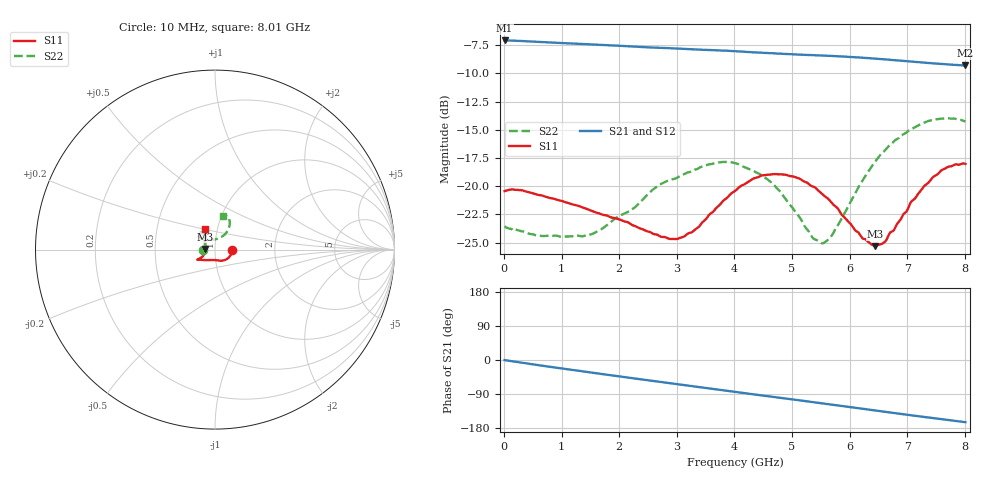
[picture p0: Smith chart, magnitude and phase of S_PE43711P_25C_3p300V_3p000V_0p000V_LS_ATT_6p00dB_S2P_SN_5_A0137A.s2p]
! Device ID: PE43711P
! File Path: z:\PE43711P\CHAR_NOM_04282014\AMB\3p300\LS_ATT_6p00dB\PE43711P_AMB_3p300V_3p000V_0p000V_LS_ATT_6p00dB_S2P_SN_5_A0137A.s2p
! Serial: 5
! Lot: A0137A
! Temp: 25C
! VDD: 3.300
! VSS: 0.000
! Control_Hi: 3.000
! Control_Lo: 0.000
! Attenuation Step: 6.00dB
! Port 1: RF1
! Port 2: RF2
! ThroughPath:1-2
! IDD: 0.0001279107
! ISS: -5.98e-008
#  Hz  S  RI  R  50
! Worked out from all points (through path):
!   801 points, 10 MHz to 8.01 GHz, reference 50 ohm
!   highest |S21| = -7.07 dB at 10 MHz (marker M1); lowest = -9.3 dB at 8.01 GHz (marker M2)
!   group delay of S21, straight-line fit = 56.5 ps
!   lowest |S11| = -25.3 dB at 6.44 GHz (marker M3), VSWR 1.11, Z = 44.9 + j0.277 ohm
!   |S11| at or under -10 dB: start of sweep to end of sweep
!   |S22| runs from -25.1 to -14.0 dB; largest |S21 - S12| = 0.00083
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1e7  0.0951 -0.000397  0.443 -0.00221  0.4432 -0.0024  -0.0663 0.000525
5.9e8  0.0846 -0.0347  0.4245 -0.1021  0.4249 -0.1022  -0.0603 0.00355
1.35e9  0.0565 -0.0576  0.3714 -0.2118  0.3718 -0.2119  -0.0569 0.0187
2.2e9  0.0281 -0.0617  0.2821 -0.307  0.2825 -0.3071  -0.0541 0.0564
2.68e9  0.0112 -0.0595  0.2234 -0.3451  0.2236 -0.3453  -0.0588 0.0819
2.98e9  -0.00476 -0.0581  0.1842 -0.3642  0.1843 -0.3645  -0.0649 0.0866
3.27e9  -0.023 -0.0582  0.1444 -0.378  0.1446 -0.3783  -0.0722 0.092
3.68e9  -0.054 -0.0588  0.0876 -0.3908  0.0875 -0.391  -0.0873 0.0918
4.01e9  -0.0763 -0.057  0.0408 -0.3947  0.0405 -0.395  -0.096 0.0824
4.34e9  -0.0927 -0.0561  -0.0051 -0.3924  -0.00519 -0.3927  -0.0915 0.0722
4.68e9  -0.0982 -0.0562  -0.0511 -0.3848  -0.0512 -0.3849  -0.0795 0.0633
5.04e9  -0.0953 -0.0549  -0.0972 -0.3718  -0.0975 -0.3718  -0.0544 0.056
5.35e9  -0.0869 -0.0493  -0.1359 -0.3562  -0.136 -0.3567  -0.0262 0.0534
5.53e9  -0.0799 -0.0459  -0.1576 -0.3454  -0.1576 -0.3455  -0.00739 0.0553
5.67e9  -0.0743 -0.0424  -0.1741 -0.3359  -0.1743 -0.336  0.00776 0.0589
6.22e9  -0.0573 -0.0138  -0.2324 -0.2897  -0.2328 -0.2898  0.058 0.0882
6.44e9  -0.0541 0.00307  -0.2522 -0.2679  -0.2525 -0.2681  0.0718 0.1061
6.68e9  -0.0554 0.0253  -0.271 -0.2431  -0.271 -0.2433  0.0792 0.1282
7.05e9  -0.059 0.0594  -0.2948 -0.2022  -0.2946 -0.2023  0.0813 0.1582
7.45e9  -0.0619 0.0907  -0.3133 -0.1571  -0.3135 -0.1571  0.0699 0.184
7.7e9  -0.062 0.1045  -0.3219 -0.1289  -0.3219 -0.1287  0.0581 0.1918
8.01e9  -0.0548 0.1129  -0.33 -0.094  -0.3303 -0.0933  0.0471 0.1879
